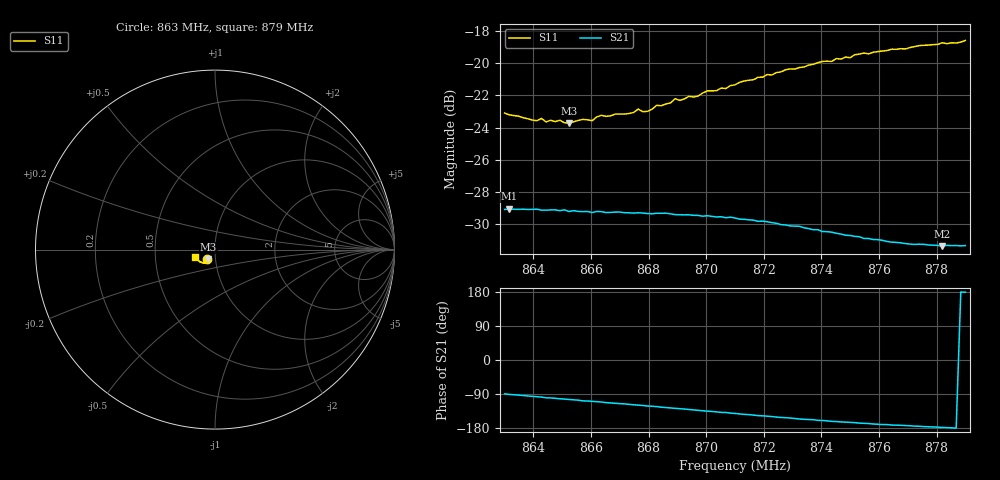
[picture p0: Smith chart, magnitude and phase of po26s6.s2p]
# HZ S RI R 50
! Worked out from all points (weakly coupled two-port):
!   101 points, 863 MHz to 879 MHz, reference 50 ohm
!   highest |S21| = -29.06 dB at 863.16 MHz (marker M1); lowest = -31.4 dB at 878.2 MHz (marker M2)
!   lowest |S11| = -23.7 dB at 865.24 MHz (marker M3), VSWR 1.14, Z = 46.2 - j4.98 ohm
!   |S11| at or under -10 dB: start of sweep to end of sweep
!   S12 and S22 are empty: the file has one direction only
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8.63e8  -0.0453 -0.0534  0.000397 -0.0351  0 0  0 0
8.6316e8  -0.0444 -0.053  -0.00047 -0.0352  0 0  0 0
8.6396e8  -0.0402 -0.0531  -0.00356 -0.0349  0 0  0 0
8.6428e8  -0.0397 -0.0544  -0.00472 -0.0346  0 0  0 0
8.6444e8  -0.0388 -0.053  -0.00599 -0.0344  0 0  0 0
8.6492e8  -0.0385 -0.0542  -0.00742 -0.034  0 0  0 0
8.6524e8  -0.037 -0.0537  -0.00846 -0.0335  0 0  0 0
8.6572e8  -0.0354 -0.0567  -0.0106 -0.0328  0 0  0 0
8.6604e8  -0.0348 -0.0564  -0.0112 -0.0324  0 0  0 0
8.6636e8  -0.0363 -0.0585  -0.0123 -0.0322  0 0  0 0
8.6732e8  -0.0353 -0.0602  -0.0155 -0.0305  0 0  0 0
8.6764e8  -0.0363 -0.0622  -0.0166 -0.0299  0 0  0 0
8.6796e8  -0.0358 -0.0611  -0.0178 -0.029  0 0  0 0
8.6828e8  -0.0361 -0.0646  -0.0186 -0.0286  0 0  0 0
8.6844e8  -0.0366 -0.0641  -0.0193 -0.0281  0 0  0 0
8.6892e8  -0.0382 -0.0676  -0.0206 -0.0268  0 0  0 0
8.6908e8  -0.0388 -0.0662  -0.021 -0.0264  0 0  0 0
8.71e8  -0.0468 -0.0718  -0.0256 -0.0207  0 0  0 0
8.7372e8  -0.066 -0.0743  -0.028 -0.0115  0 0  0 0
8.7644e8  -0.091 -0.063  -0.0274 -0.00401  0 0  0 0
8.782e8  -0.1056 -0.048  -0.0269 -0.000937  0 0  0 0
8.79e8  -0.1104 -0.0412  -0.027 0.000548  0 0  0 0
